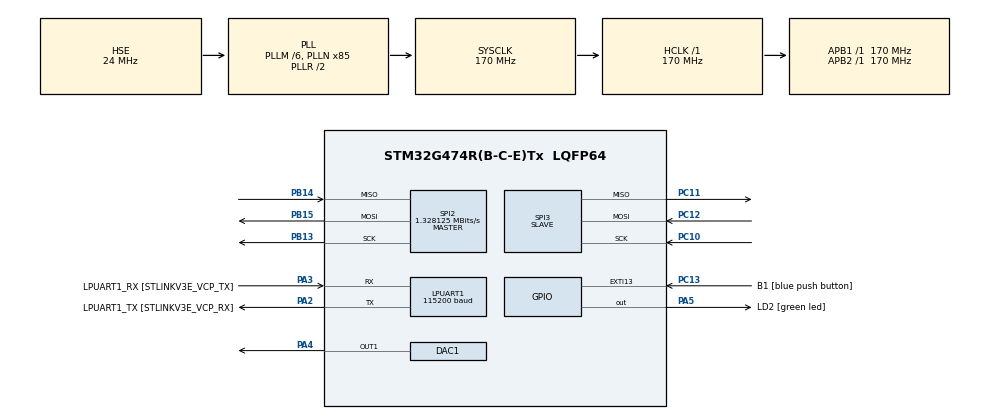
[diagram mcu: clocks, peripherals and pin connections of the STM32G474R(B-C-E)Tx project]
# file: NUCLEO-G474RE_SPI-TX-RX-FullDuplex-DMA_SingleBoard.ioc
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DAC1.DAC_HighFrequency_OUT1-DAC_OUT1=DAC_HIGH_FREQUENCY_INTERFACE_MODE_ABOVE_160MHZ
Dma.Request0=SPI2_RX
Dma.Request1=SPI3_TX
Dma.Request2=SPI2_TX
Dma.Request3=SPI3_RX
Dma.SPI2_RX.0.Direction=DMA_PERIPH_TO_MEMORY
Dma.SPI2_RX.0.EventEnable=DISABLE
Dma.SPI2_RX.0.Instance=DMA1_Channel1
Dma.SPI2_RX.0.MemDataAlignment=DMA_MDATAALIGN_BYTE
Dma.SPI2_RX.0.MemInc=DMA_MINC_ENABLE
Dma.SPI2_RX.0.Mode=DMA_NORMAL
Dma.SPI2_RX.0.PeriphDataAlignment=DMA_PDATAALIGN_BYTE
Dma.SPI2_RX.0.PeriphInc=DMA_PINC_DISABLE
Dma.SPI2_RX.0.Polarity=HAL_DMAMUX_REQ_GEN_RISING
Dma.SPI2_RX.0.Priority=DMA_PRIORITY_MEDIUM
Dma.SPI2_RX.0.RequestNumber=1
Dma.SPI2_RX.0.SignalID=NONE
Dma.SPI2_RX.0.SyncEnable=DISABLE
Dma.SPI2_RX.0.SyncPolarity=HAL_DMAMUX_SYNC_NO_EVENT
Dma.SPI2_RX.0.SyncRequestNumber=1
Dma.SPI2_RX.0.SyncSignalID=NONE
Dma.SPI2_TX.2.Direction=DMA_MEMORY_TO_PERIPH
Dma.SPI2_TX.2.EventEnable=DISABLE
Dma.SPI2_TX.2.Instance=DMA1_Channel3
Dma.SPI2_TX.2.MemDataAlignment=DMA_MDATAALIGN_BYTE
Dma.SPI2_TX.2.MemInc=DMA_MINC_ENABLE
Dma.SPI2_TX.2.Mode=DMA_NORMAL
Dma.SPI2_TX.2.PeriphDataAlignment=DMA_PDATAALIGN_BYTE
Dma.SPI2_TX.2.PeriphInc=DMA_PINC_DISABLE
Dma.SPI2_TX.2.Polarity=HAL_DMAMUX_REQ_GEN_RISING
Dma.SPI2_TX.2.Priority=DMA_PRIORITY_MEDIUM
Dma.SPI2_TX.2.RequestNumber=1
Dma.SPI2_TX.2.SignalID=NONE
Dma.SPI2_TX.2.SyncEnable=DISABLE
Dma.SPI2_TX.2.SyncPolarity=HAL_DMAMUX_SYNC_NO_EVENT
Dma.SPI2_TX.2.SyncRequestNumber=1
Dma.SPI2_TX.2.SyncSignalID=NONE
Dma.SPI3_RX.3.Direction=DMA_PERIPH_TO_MEMORY
Dma.SPI3_RX.3.EventEnable=DISABLE
Dma.SPI3_RX.3.Instance=DMA1_Channel4
Dma.SPI3_RX.3.MemDataAlignment=DMA_MDATAALIGN_BYTE
Dma.SPI3_RX.3.MemInc=DMA_MINC_ENABLE
Dma.SPI3_RX.3.Mode=DMA_NORMAL
Dma.SPI3_RX.3.PeriphDataAlignment=DMA_PDATAALIGN_BYTE
Dma.SPI3_RX.3.PeriphInc=DMA_PINC_DISABLE
Dma.SPI3_RX.3.Polarity=HAL_DMAMUX_REQ_GEN_RISING
Dma.SPI3_RX.3.Priority=DMA_PRIORITY_MEDIUM
Dma.SPI3_RX.3.RequestNumber=1
Dma.SPI3_RX.3.SignalID=NONE
Dma.SPI3_RX.3.SyncEnable=DISABLE
Dma.SPI3_RX.3.SyncPolarity=HAL_DMAMUX_SYNC_NO_EVENT
Dma.SPI3_RX.3.SyncRequestNumber=1
Dma.SPI3_RX.3.SyncSignalID=NONE
Dma.SPI3_TX.1.Direction=DMA_MEMORY_TO_PERIPH
Dma.SPI3_TX.1.EventEnable=DISABLE
Dma.SPI3_TX.1.Instance=DMA1_Channel2
Dma.SPI3_TX.1.MemDataAlignment=DMA_MDATAALIGN_BYTE
Dma.SPI3_TX.1.MemInc=DMA_MINC_ENABLE
Dma.SPI3_TX.1.Mode=DMA_NORMAL
Dma.SPI3_TX.1.PeriphDataAlignment=DMA_PDATAALIGN_BYTE
Dma.SPI3_TX.1.PeriphInc=DMA_PINC_DISABLE
Dma.SPI3_TX.1.Polarity=HAL_DMAMUX_REQ_GEN_RISING
Dma.SPI3_TX.1.Priority=DMA_PRIORITY_MEDIUM
Dma.SPI3_TX.1.RequestNumber=1
Dma.SPI3_TX.1.SignalID=NONE
Dma.SPI3_TX.1.SyncEnable=DISABLE
Dma.SPI3_TX.1.SyncPolarity=HAL_DMAMUX_SYNC_NO_EVENT
Dma.SPI3_TX.1.SyncRequestNumber=1
Dma.SPI3_TX.1.SyncSignalID=NONE
LPUART1.BaudRate=115200
LPUART1.WordLength=UART_WORDLENGTH_8B
Mcu.Family=STM32G4
Mcu.Name=STM32G474R(B-C-E)Tx
Mcu.Package=LQFP64
NVIC.DMA1_Channel1_IRQn=true\:0\:0\:false\:false\:true\:false\:true
NVIC.DMA1_Channel2_IRQn=true\:0\:0\:false\:false\:true\:false\:true
NVIC.DMA1_Channel3_IRQn=true\:0\:0\:false\:false\:true\:false\:true
NVIC.DMA1_Channel4_IRQn=true\:0\:0\:false\:false\:true\:false\:true
NVIC.EXTI15_10_IRQn=true\:0\:0\:false\:false\:true\:true\:true
NVIC.PriorityGroup=NVIC_PRIORITYGROUP_4
PA13.GPIO_Label=T_SWDIO
PA13.Mode=Trace_Asynchronous_SW
PA13.Signal=SYS_JTMS-SWDIO
PA14.GPIO_Label=T_SWCLK
PA14.Mode=Trace_Asynchronous_SW
PA14.Signal=SYS_JTCK-SWCLK
PA2.GPIO_Label=LPUART1_TX [STLINKV3E_VCP_RX]
PA2.Mode=Asynchronous
PA2.Signal=LPUART1_TX
PA3.GPIO_Label=LPUART1_RX [STLINKV3E_VCP_TX]
PA3.Mode=Asynchronous
PA3.Signal=LPUART1_RX
PA4.Signal=COMP_DAC11_group
PA5.GPIO_Label=LD2 [green led]
PA5.Signal=GPIO_Output
PB13.Mode=Full_Duplex_Master
PB13.Signal=SPI2_SCK
PB14.Mode=Full_Duplex_Master
PB14.Signal=SPI2_MISO
PB15.Mode=Full_Duplex_Master
PB15.Signal=SPI2_MOSI
PB3.GPIO_Label=T_SWO
PB3.Mode=Trace_Asynchronous_SW
PB3.Signal=SYS_JTDO-SWO
PC10.Mode=Full_Duplex_Slave
PC10.Signal=SPI3_SCK
PC11.Mode=Full_Duplex_Slave
PC11.Signal=SPI3_MISO
PC12.Mode=Full_Duplex_Slave
PC12.Signal=SPI3_MOSI
PC13.GPIO_Label=B1 [blue push button]
PC13.Signal=GPXTI13
PC14-OSC32_IN.Mode=LSE-External-Oscillator
PC14-OSC32_IN.Signal=RCC_OSC32_IN
PC15-OSC32_OUT.Mode=LSE-External-Oscillator
PC15-OSC32_OUT.Signal=RCC_OSC32_OUT
PF0-OSC_IN.Mode=HSE-External-Oscillator
PF0-OSC_IN.Signal=RCC_OSC_IN
PF1-OSC_OUT.Mode=HSE-External-Oscillator
PF1-OSC_OUT.Signal=RCC_OSC_OUT
ProjectManager.HeapSize=0x200
ProjectManager.StackSize=0x400
ProjectManager.TargetToolchain=STM32CubeIDE
RCC.ADC12Freq_Value=170000000
RCC.ADC345Freq_Value=170000000
RCC.AHBFreq_Value=170000000
RCC.APB1Freq_Value=170000000
RCC.APB1TimFreq_Value=170000000
RCC.APB2Freq_Value=170000000
RCC.APB2TimFreq_Value=170000000
RCC.CortexFreq_Value=170000000
RCC.EXTERNAL_CLOCK_VALUE=12288000
RCC.HCLKFreq_Value=170000000
RCC.HSE_VALUE=24000000
RCC.HSI48_VALUE=48000000
RCC.HSI_VALUE=16000000
RCC.PLLM=RCC_PLLM_DIV6
RCC.PLLN=85
RCC.PLLSourceVirtual=RCC_PLLSOURCE_HSE
RCC.RTCClockSelection=RCC_RTCCLKSOURCE_LSE
RCC.SYSCLKFreq_VALUE=170000000
RCC.SYSCLKSource=RCC_SYSCLKSOURCE_PLLCLK
RCC.USBFreq_Value=170000000
RCC.VCOOutputFreq_Value=340000000
SH.COMP_DAC11_group.0=DAC1_OUT1,DAC_OUT1
SPI2.BaudRatePrescaler=SPI_BAUDRATEPRESCALER_128
SPI2.CalculateBaudRate=1.328125 MBits/s
SPI2.DataSize=SPI_DATASIZE_8BIT
SPI2.Direction=SPI_DIRECTION_2LINES
SPI2.Mode=SPI_MODE_MASTER
SPI2.NSSPMode=SPI_NSS_PULSE_DISABLE
SPI2.VirtualType=VM_MASTER
SPI3.DataSize=SPI_DATASIZE_8BIT
SPI3.Direction=SPI_DIRECTION_2LINES
SPI3.Mode=SPI_MODE_SLAVE
SPI3.VirtualType=VM_SLAVE
VP_CRC_VS_CRC.Mode=CRC_Activate
VP_SYS_VS_DBSignals.Mode=DisableDeadBatterySignals
board=NUCLEO-G474RE

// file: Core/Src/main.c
/* USER CODE BEGIN Header */
/**
  ******************************************************************************
  * @file           : main.c
  * @brief          : Main program body
  ******************************************************************************
  * @attention
  *
  * <h2><center>&copy; Copyright (c) 2021 STMicroelectronics.
  * All rights reserved.</center></h2>
  *
  * This software component is licensed by ST under BSD 3-Clause license,
  * the "License"; You may not use this file except in compliance with the
  * License. You may obtain a copy of the License at:
  *                        opensource.org/licenses/BSD-3-Clause
  *
  ******************************************************************************
  */
/* USER CODE END Header */
#include "main.h"

/* USER CODE BEGIN Includes */

#include <stdio.h>

/* USER CODE END Includes */

CRC_HandleTypeDef hcrc;

DAC_HandleTypeDef hdac1;

UART_HandleTypeDef hlpuart1;

SPI_HandleTypeDef hspi2;
SPI_HandleTypeDef hspi3;
DMA_HandleTypeDef hdma_spi2_rx;
DMA_HandleTypeDef hdma_spi2_tx;
DMA_HandleTypeDef hdma_spi3_tx;
DMA_HandleTypeDef hdma_spi3_rx;

/* USER CODE BEGIN PV */

uint8_t send_data2[30] = "SPI buffer test";
uint8_t receive_data2[30];
uint8_t send_data3[30] = "SPI buffer test";
uint8_t receive_data3[30];

/* USER CODE END PV */

void SystemClock_Config(void);
static void MX_GPIO_Init(void);
static void MX_LPUART1_UART_Init(void);
static void MX_DMA_Init(void);
static void MX_SPI2_Init(void);
static void MX_CRC_Init(void);
static void MX_DAC1_Init(void);
static void MX_SPI3_Init(void);
/* USER CODE BEGIN PFP */

#define PUTCHAR_PROTOTYPE int __io_putchar(int ch)

/* USER CODE END PFP */

int main(void)
{

  /* MCU Configuration--------------------------------------------------------*/

  /* Reset of all peripherals, Initializes the Flash interface and the Systick. */
  HAL_Init();

  /* Configure the system clock */
  SystemClock_Config();

  /* Initialize all configured peripherals */
  MX_GPIO_Init();
  MX_LPUART1_UART_Init();
  MX_DMA_Init();
  MX_SPI2_Init();
  MX_CRC_Init();
  MX_DAC1_Init();
  MX_SPI3_Init();
  /* USER CODE BEGIN 2 */

  printf("Starting >> NUCLEO-G474RE_SPI-TX-DMA_RX-DMA \n");

  for(u_int16_t cntr = 0; cntr < 30; cntr++)
	  send_data2[cntr] = cntr;

  for(u_int16_t cntr = 0; cntr < 30; cntr++)
	  send_data3[cntr] = cntr + 20;

//  HAL_SPI_Transmit_DMA(&hspi2, send_data, 30);
  HAL_SPI_TransmitReceive_DMA(&hspi2, send_data2, receive_data2, 30);

  HAL_SPI_TransmitReceive_DMA(&hspi3, send_data3, receive_data3, 30);

//  HAL_SPI_Receive_DMA(&hspi2, receive_data, 30);

  HAL_Delay(200);

  printf("Ending >> NUCLEO-G474RE_SPI-TX-DMA_RX-DMA \n");
  /* USER CODE END 2 */

  /* Infinite loop */
  while (1)
  {

  }
}

void SystemClock_Config(void)
{
  RCC_OscInitTypeDef RCC_OscInitStruct = {0};
  RCC_ClkInitTypeDef RCC_ClkInitStruct = {0};
  RCC_PeriphCLKInitTypeDef PeriphClkInit = {0};

  /** Configure the main internal regulator output voltage
  */
  HAL_PWREx_ControlVoltageScaling(PWR_REGULATOR_VOLTAGE_SCALE1_BOOST);
  /** Initializes the RCC Oscillators according to the specified parameters
  * in the RCC_OscInitTypeDef structure.
  */
  RCC_OscInitStruct.OscillatorType = RCC_OSCILLATORTYPE_HSE;
  RCC_OscInitStruct.HSEState = RCC_HSE_ON;
  RCC_OscInitStruct.PLL.PLLState = RCC_PLL_ON;
  RCC_OscInitStruct.PLL.PLLSource = RCC_PLLSOURCE_HSE;
  RCC_OscInitStruct.PLL.PLLM = RCC_PLLM_DIV6;
  RCC_OscInitStruct.PLL.PLLN = 85;
  RCC_OscInitStruct.PLL.PLLP = RCC_PLLP_DIV2;
  RCC_OscInitStruct.PLL.PLLQ = RCC_PLLQ_DIV2;
  RCC_OscInitStruct.PLL.PLLR = RCC_PLLR_DIV2;
  if (HAL_RCC_OscConfig(&RCC_OscInitStruct) != HAL_OK)
  {
    Error_Handler();
  }
  /** Initializes the CPU, AHB and APB buses clocks
  */
  RCC_ClkInitStruct.ClockType = RCC_CLOCKTYPE_HCLK|RCC_CLOCKTYPE_SYSCLK
                              |RCC_CLOCKTYPE_PCLK1|RCC_CLOCKTYPE_PCLK2;
  RCC_ClkInitStruct.SYSCLKSource = RCC_SYSCLKSOURCE_PLLCLK;
  RCC_ClkInitStruct.AHBCLKDivider = RCC_SYSCLK_DIV1;
  RCC_ClkInitStruct.APB1CLKDivider = RCC_HCLK_DIV1;
  RCC_ClkInitStruct.APB2CLKDivider = RCC_HCLK_DIV1;

  if (HAL_RCC_ClockConfig(&RCC_ClkInitStruct, FLASH_LATENCY_4) != HAL_OK)
  {
    Error_Handler();
  }
  /** Initializes the peripherals clocks
  */
  PeriphClkInit.PeriphClockSelection = RCC_PERIPHCLK_LPUART1;
  PeriphClkInit.Lpuart1ClockSelection = RCC_LPUART1CLKSOURCE_PCLK1;
  if (HAL_RCCEx_PeriphCLKConfig(&PeriphClkInit) != HAL_OK)
  {
    Error_Handler();
  }
}

static void MX_CRC_Init(void)
{

  hcrc.Instance = CRC;
  hcrc.Init.DefaultPolynomialUse = DEFAULT_POLYNOMIAL_ENABLE;
  hcrc.Init.DefaultInitValueUse = DEFAULT_INIT_VALUE_ENABLE;
  hcrc.Init.InputDataInversionMode = CRC_INPUTDATA_INVERSION_NONE;
  hcrc.Init.OutputDataInversionMode = CRC_OUTPUTDATA_INVERSION_DISABLE;
  hcrc.InputDataFormat = CRC_INPUTDATA_FORMAT_BYTES;
  if (HAL_CRC_Init(&hcrc) != HAL_OK)
  {
    Error_Handler();
  }

}

static void MX_DAC1_Init(void)
{

  DAC_ChannelConfTypeDef sConfig = {0};

  /** DAC Initialization
  */
  hdac1.Instance = DAC1;
  if (HAL_DAC_Init(&hdac1) != HAL_OK)
  {
    Error_Handler();
  }
  /** DAC channel OUT1 config
  */
  sConfig.DAC_HighFrequency = DAC_HIGH_FREQUENCY_INTERFACE_MODE_ABOVE_160MHZ;
  sConfig.DAC_DMADoubleDataMode = DISABLE;
  sConfig.DAC_SignedFormat = DISABLE;
  sConfig.DAC_SampleAndHold = DAC_SAMPLEANDHOLD_DISABLE;
  sConfig.DAC_Trigger = DAC_TRIGGER_NONE;
  sConfig.DAC_Trigger2 = DAC_TRIGGER_NONE;
  sConfig.DAC_OutputBuffer = DAC_OUTPUTBUFFER_ENABLE;
  sConfig.DAC_ConnectOnChipPeripheral = DAC_CHIPCONNECT_EXTERNAL;
  sConfig.DAC_UserTrimming = DAC_TRIMMING_FACTORY;
  if (HAL_DAC_ConfigChannel(&hdac1, &sConfig, DAC_CHANNEL_1) != HAL_OK)
  {
    Error_Handler();
  }

}

static void MX_LPUART1_UART_Init(void)
{

  hlpuart1.Instance = LPUART1;
  hlpuart1.Init.BaudRate = 115200;
  hlpuart1.Init.WordLength = UART_WORDLENGTH_8B;
  hlpuart1.Init.StopBits = UART_STOPBITS_1;
  hlpuart1.Init.Parity = UART_PARITY_NONE;
  hlpuart1.Init.Mode = UART_MODE_TX_RX;
  hlpuart1.Init.HwFlowCtl = UART_HWCONTROL_NONE;
  hlpuart1.Init.OneBitSampling = UART_ONE_BIT_SAMPLE_DISABLE;
  hlpuart1.Init.ClockPrescaler = UART_PRESCALER_DIV1;
  hlpuart1.AdvancedInit.AdvFeatureInit = UART_ADVFEATURE_NO_INIT;
  if (HAL_UART_Init(&hlpuart1) != HAL_OK)
  {
    Error_Handler();
  }
  if (HAL_UARTEx_SetTxFifoThreshold(&hlpuart1, UART_TXFIFO_THRESHOLD_1_8) != HAL_OK)
  {
    Error_Handler();
  }
  if (HAL_UARTEx_SetRxFifoThreshold(&hlpuart1, UART_RXFIFO_THRESHOLD_1_8) != HAL_OK)
  {
    Error_Handler();
  }
  if (HAL_UARTEx_DisableFifoMode(&hlpuart1) != HAL_OK)
  {
    Error_Handler();
  }

}

static void MX_SPI2_Init(void)
{

  /* SPI2 parameter configuration*/
  hspi2.Instance = SPI2;
  hspi2.Init.Mode = SPI_MODE_MASTER;
  hspi2.Init.Direction = SPI_DIRECTION_2LINES;
  hspi2.Init.DataSize = SPI_DATASIZE_8BIT;
  hspi2.Init.CLKPolarity = SPI_POLARITY_LOW;
  hspi2.Init.CLKPhase = SPI_PHASE_1EDGE;
  hspi2.Init.NSS = SPI_NSS_SOFT;
  hspi2.Init.BaudRatePrescaler = SPI_BAUDRATEPRESCALER_128;
  hspi2.Init.FirstBit = SPI_FIRSTBIT_MSB;
  hspi2.Init.TIMode = SPI_TIMODE_DISABLE;
  hspi2.Init.CRCCalculation = SPI_CRCCALCULATION_DISABLE;
  hspi2.Init.CRCPolynomial = 7;
  hspi2.Init.CRCLength = SPI_CRC_LENGTH_DATASIZE;
  hspi2.Init.NSSPMode = SPI_NSS_PULSE_DISABLE;
  if (HAL_SPI_Init(&hspi2) != HAL_OK)
  {
    Error_Handler();
  }

}

static void MX_SPI3_Init(void)
{

  /* SPI3 parameter configuration*/
  hspi3.Instance = SPI3;
  hspi3.Init.Mode = SPI_MODE_SLAVE;
  hspi3.Init.Direction = SPI_DIRECTION_2LINES;
  hspi3.Init.DataSize = SPI_DATASIZE_8BIT;
  hspi3.Init.CLKPolarity = SPI_POLARITY_LOW;
  hspi3.Init.CLKPhase = SPI_PHASE_1EDGE;
  hspi3.Init.NSS = SPI_NSS_SOFT;
  hspi3.Init.FirstBit = SPI_FIRSTBIT_MSB;
  hspi3.Init.TIMode = SPI_TIMODE_DISABLE;
  hspi3.Init.CRCCalculation = SPI_CRCCALCULATION_DISABLE;
  hspi3.Init.CRCPolynomial = 7;
  hspi3.Init.CRCLength = SPI_CRC_LENGTH_DATASIZE;
  hspi3.Init.NSSPMode = SPI_NSS_PULSE_DISABLE;
  if (HAL_SPI_Init(&hspi3) != HAL_OK)
  {
    Error_Handler();
  }

}

static void MX_DMA_Init(void)
{

  /* DMA controller clock enable */
  __HAL_RCC_DMAMUX1_CLK_ENABLE();
  __HAL_RCC_DMA1_CLK_ENABLE();

  /* DMA interrupt init */
  /* DMA1_Channel1_IRQn interrupt configuration */
  HAL_NVIC_SetPriority(DMA1_Channel1_IRQn, 0, 0);
  HAL_NVIC_EnableIRQ(DMA1_Channel1_IRQn);
  /* DMA1_Channel2_IRQn interrupt configuration */
  HAL_NVIC_SetPriority(DMA1_Channel2_IRQn, 0, 0);
  HAL_NVIC_EnableIRQ(DMA1_Channel2_IRQn);
  /* DMA1_Channel3_IRQn interrupt configuration */
  HAL_NVIC_SetPriority(DMA1_Channel3_IRQn, 0, 0);
  HAL_NVIC_EnableIRQ(DMA1_Channel3_IRQn);
  /* DMA1_Channel4_IRQn interrupt configuration */
  HAL_NVIC_SetPriority(DMA1_Channel4_IRQn, 0, 0);
  HAL_NVIC_EnableIRQ(DMA1_Channel4_IRQn);

}

static void MX_GPIO_Init(void)
{
  GPIO_InitTypeDef GPIO_InitStruct = {0};

  /* GPIO Ports Clock Enable */
  __HAL_RCC_GPIOC_CLK_ENABLE();
  __HAL_RCC_GPIOF_CLK_ENABLE();
  __HAL_RCC_GPIOA_CLK_ENABLE();
  __HAL_RCC_GPIOB_CLK_ENABLE();

  /*Configure GPIO pin Output Level */
  HAL_GPIO_WritePin(LD2_GPIO_Port, LD2_Pin, GPIO_PIN_RESET);

  /*Configure GPIO pin : B1_Pin */
  GPIO_InitStruct.Pin = B1_Pin;
  GPIO_InitStruct.Mode = GPIO_MODE_IT_RISING;
  GPIO_InitStruct.Pull = GPIO_NOPULL;
  HAL_GPIO_Init(B1_GPIO_Port, &GPIO_InitStruct);

  /*Configure GPIO pin : LD2_Pin */
  GPIO_InitStruct.Pin = LD2_Pin;
  GPIO_InitStruct.Mode = GPIO_MODE_OUTPUT_PP;
  GPIO_InitStruct.Pull = GPIO_NOPULL;
  GPIO_InitStruct.Speed = GPIO_SPEED_FREQ_LOW;
  HAL_GPIO_Init(LD2_GPIO_Port, &GPIO_InitStruct);

  /* EXTI interrupt init*/
  HAL_NVIC_SetPriority(EXTI15_10_IRQn, 0, 0);
  HAL_NVIC_EnableIRQ(EXTI15_10_IRQn);

}

/* USER CODE BEGIN 4 */

PUTCHAR_PROTOTYPE
{
  /* Place your implementation of fputc here */
  /* e.g. write a character to the LPUART1 and Loop until the end of transmission */
  HAL_UART_Transmit(&hlpuart1, (uint8_t *)&ch, 1, 0xFFFF);

  return ch;
}

void HAL_SPI_RxCpltCallback(SPI_HandleTypeDef *hspi)
{
	UNUSED(hspi);
	printf("HAL_SPI_RxCpltCallback \n");
}

void HAL_SPI_ErrorCallback(SPI_HandleTypeDef *hspi)
{
	UNUSED(hspi);
	printf("HAL_SPI_ErrorCallback = %x \n", hspi->ErrorCode);
}

void HAL_SPI_TxCpltCallback(SPI_HandleTypeDef *hspi)
{
	UNUSED(hspi);
	printf("HAL_SPI_TxCpltCallback \n");
}

/* USER CODE END 4 */

void Error_Handler(void)
{
  __disable_irq();
  while (1)
  {
  }
}

/************************ (C) COPYRIGHT STMicroelectronics *****END OF FILE****/
